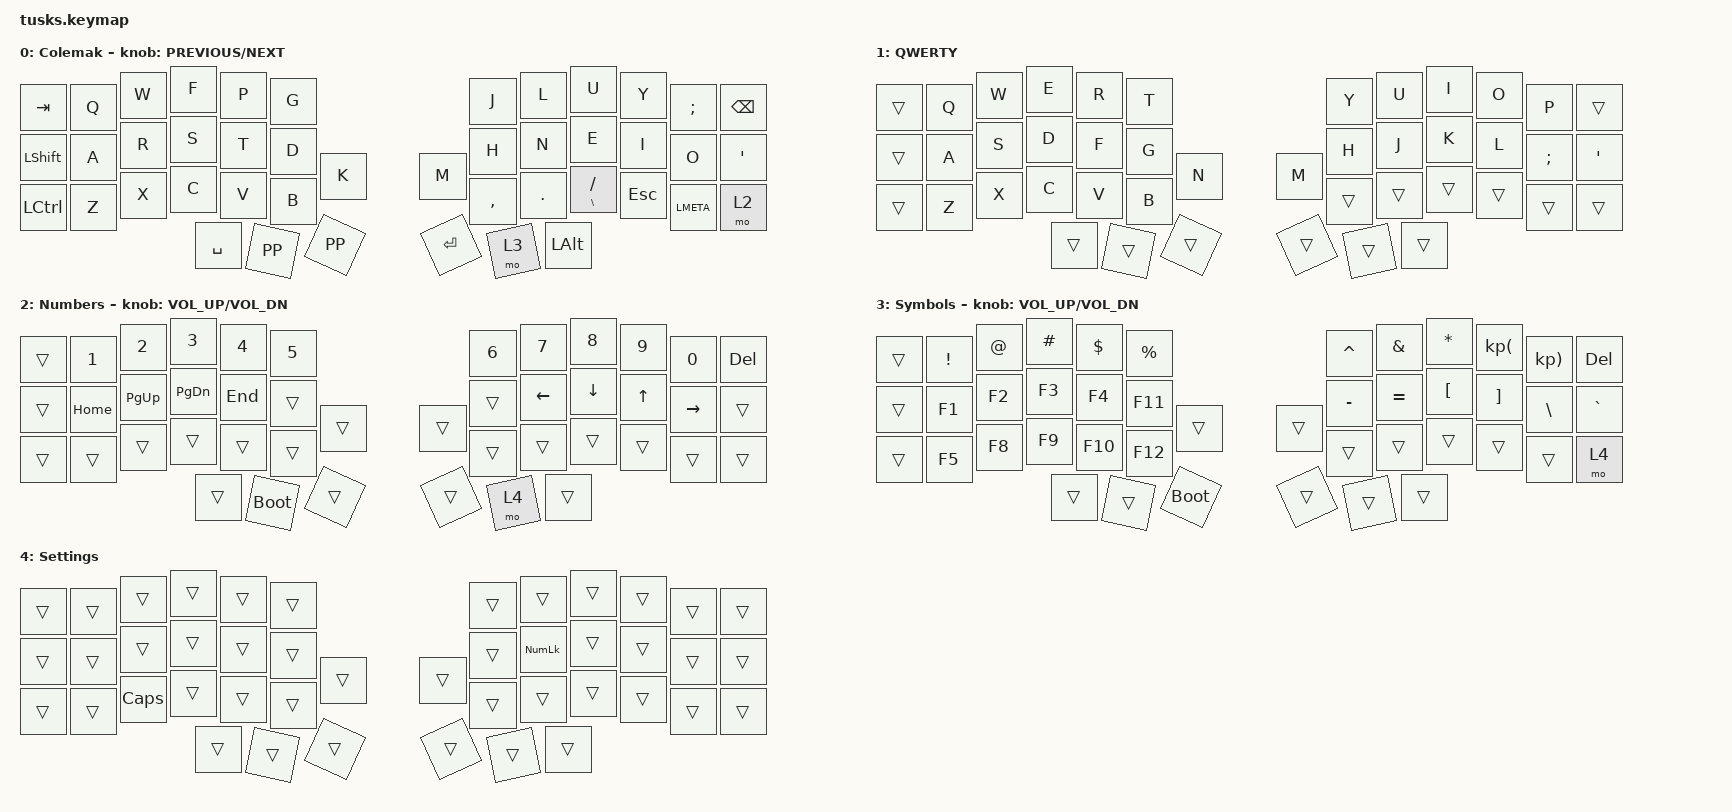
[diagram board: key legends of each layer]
#include <behaviors.dtsi>
#include <dt-bindings/zmk/keys.h>

/ {
    combos {
        compatible = "zmk,combos";

        combo_studio_unlock {
            timeout-ms = <50>;
            key-positions = <0 1>;
            bindings = <&studio_unlock>;
        };
    };
};

/ {
    behaviors {
        sm: space_mod {
            compatible = "zmk,behavior-hold-tap";
            #binding-cells = <2>;
            flavor = "tap-preferred";
            tapping-term-ms = <175>;
            quick-tap-ms = <100>;
            bindings = <&kp>, <&kp>;
        };

        cz: cz {
            compatible = "zmk,behavior-hold-tap";
            #binding-cells = <2>;
            flavor = "tap-preferred";
            tapping-term-ms = <350>;
            bindings = <&kp>, <&kp>;

            quick-tap-ms = <175>;
        };
    };

    keymap {
        compatible = "zmk,keymap";

        base {
            bindings = <
&kp TAB    &kp Q  &kp W      &kp F  &kp P      &kp G               &kp J      &kp L  &kp U      &kp Y    &kp SEMI             &kp BSPC
&kp LSHFT  &kp A  &kp R      &kp S  &kp T      &kp D               &kp H      &kp N  &kp E      &kp I    &kp O                &kp SQT
&kp LCTRL  &kp Z  &kp X      &kp C  &kp V      &kp B               &kp K      &kp M  &kp COMMA  &kp DOT  &mt BACKSLASH SLASH  &kp ESC
                  &kp LMETA  &mo 2  &kp SPACE  &kp K_PP  &kp K_PP  &kp ENTER  &mo 3  &kp LALT
            >;

            sensor-bindings = <&inc_dec_kp C_PREVIOUS C_NEXT>;
            display-name = "Colemak";
        };

        qwerty {
            bindings = <
&trans  &kp Q  &kp W   &kp E   &kp R   &kp T           &kp Y   &kp U   &kp I   &kp O   &kp P     &trans
&trans  &kp A  &kp S   &kp D   &kp F   &kp G           &kp H   &kp J   &kp K   &kp L   &kp SEMI  &kp SQT
&trans  &kp Z  &kp X   &kp C   &kp V   &kp B           &kp N   &kp M   &trans  &trans  &trans    &trans
               &trans  &trans  &trans  &trans  &trans  &trans  &trans  &trans
            >;

            display-name = "QWERTY";
        };

        num {
            bindings = <
&trans  &kp N1    &kp N2     &kp N3     &kp N4   &kp N5               &kp N6  &kp N7    &kp N8    &kp N9  &kp N0     &kp DEL
&trans  &kp HOME  &kp PG_UP  &kp PG_DN  &kp END  &trans               &trans  &kp LEFT  &kp DOWN  &kp UP  &kp RIGHT  &trans
&trans  &trans    &trans     &trans     &trans   &trans               &trans  &trans    &trans    &trans  &trans     &trans
                  &trans     &trans     &trans   &bootloader  &trans  &trans  &mo 4     &trans
            >;

            sensor-bindings = <&inc_dec_kp C_VOL_UP C_VOL_DN>;
            display-name = "Numbers";
        };

        sym {
            bindings = <
&trans  &kp EXCL  &kp AT  &kp HASH  &kp DOLLAR  &kp PERCENT               &kp CARET  &kp AMPS   &kp STAR  &kp KP_LPAR  &kp KP_RPAR  &kp DEL
&trans  &kp F1    &kp F2  &kp F3    &kp F4      &kp F11                   &kp MINUS  &kp EQUAL  &kp LBKT  &kp RBKT     &kp BSLH     &kp GRAVE
&trans  &kp F5    &kp F8  &kp F9    &kp F10     &kp F12                   &trans     &trans     &trans    &trans       &trans       &trans
                  &trans  &mo 4     &trans      &trans       &bootloader  &trans     &trans     &trans
            >;

            display-name = "Symbols";
            sensor-bindings = <&inc_dec_kp C_VOL_UP C_VOL_DN>;
        };

        Settings {
            bindings = <
&trans  &trans  &trans        &trans  &trans  &trans          &trans  &trans          &trans  &trans  &trans  &trans
&trans  &trans  &trans        &trans  &trans  &trans          &trans  &kp KP_NUMLOCK  &trans  &trans  &trans  &trans
&trans  &trans  &kp CAPSLOCK  &trans  &trans  &trans          &trans  &trans          &trans  &trans  &trans  &trans
                &trans        &trans  &trans  &trans  &trans  &trans  &trans          &trans
            >;

            label = "Settings";
        };
    };
};
